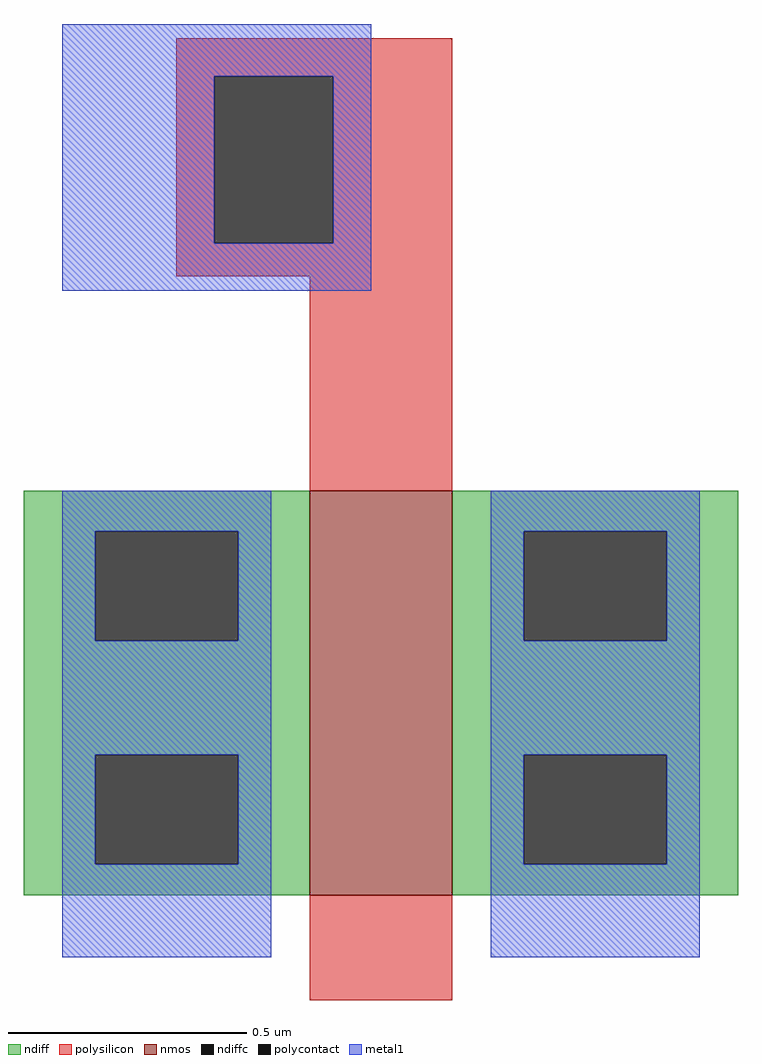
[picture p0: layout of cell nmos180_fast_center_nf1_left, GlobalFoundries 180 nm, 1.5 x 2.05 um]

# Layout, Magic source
magic
tech gf180mcuC
magscale 1 10
<< nmos >>
rect 60 306 120 476
<< ndiff >>
rect -60 459 60 476
rect -60 413 -30 459
rect 30 413 60 459
rect -60 365 60 413
rect -60 319 -30 365
rect 30 319 60 365
rect -60 306 60 319
rect 120 459 240 476
rect 120 413 150 459
rect 210 413 240 459
rect 120 365 240 413
rect 120 319 150 365
rect 210 319 240 365
rect 120 306 240 319
<< ndiffc >>
rect -30 413 30 459
rect -30 319 30 365
rect 150 413 210 459
rect 150 319 210 365
<< polysilicon >>
rect 4 650 120 666
rect 4 580 20 650
rect 70 580 120 650
rect 4 566 120 580
rect 60 476 120 566
rect 60 262 120 306
<< polycontact >>
rect 20 580 70 650
<< metal1 >>
rect -44 650 86 672
rect -44 580 20 650
rect 70 580 86 650
rect -44 560 86 580
rect -44 459 44 476
rect -44 413 -30 459
rect 30 413 44 459
rect -44 365 44 413
rect -44 319 -30 365
rect 30 319 44 365
rect -44 280 44 319
rect 136 459 224 476
rect 136 413 150 459
rect 210 413 224 459
rect 136 365 224 413
rect 136 319 150 365
rect 210 319 224 365
rect 136 280 224 319
<< end >>
